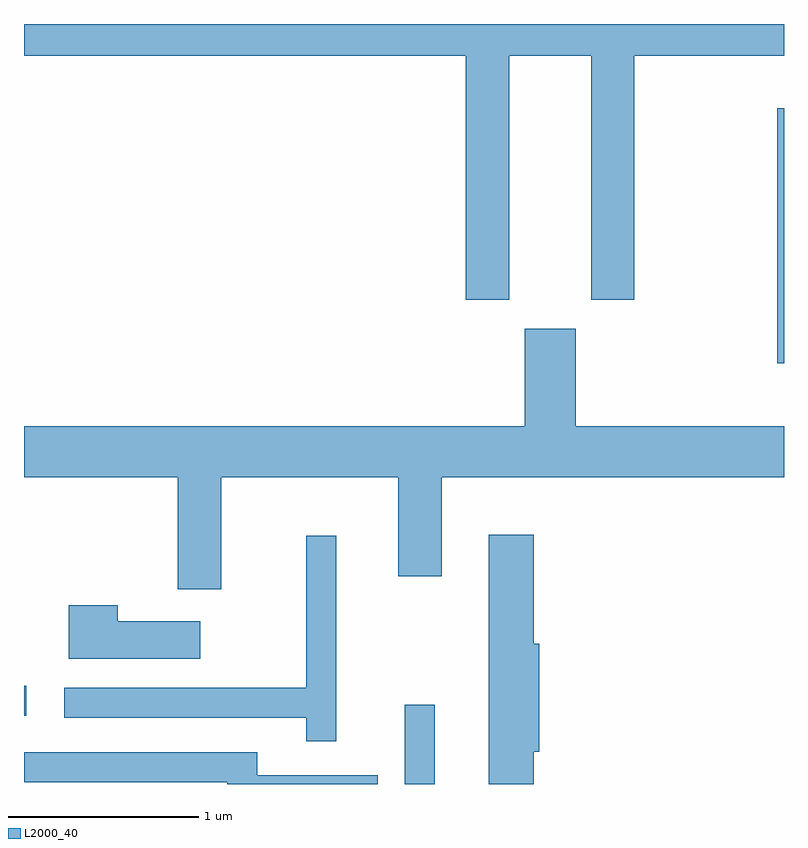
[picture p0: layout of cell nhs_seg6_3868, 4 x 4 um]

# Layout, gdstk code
import gdstk
lib = gdstk.Library(unit=1e-6, precision=1e-09)
def R(c, l, rs):  # rectangles x0, y0, x1, y1
    for r in rs: c.add(gdstk.rectangle(r[:2], r[2:], *l))
def P(c, l, *ps):  # polygons
    for p in ps: c.add(gdstk.Polygon(p, *l))
L2000_40 = (2000, 40)

nhs_seg6_3868 = lib.new_cell('nhs_seg6_3868')
R(nhs_seg6_3868, L2000_40, [(303.616,1586.162,303.774,1586.578), (301.611,1586.521,301.623,1586.679), (305.576,1588.376,305.611,1589.719)])
P(nhs_seg6_3868, L2000_40, [(304.164,1589.996),(304.596,1589.996),(304.596,1588.711),(304.824,1588.711),(304.824,1589.996),(305.611,1589.996),(305.611,1590.162),(301.611,1590.162),(301.611,1589.996),(303.936,1589.996),(303.936,1588.711),(304.164,1588.711)],
  [(302.649,1587.776),(303.581,1587.776),(303.581,1587.256),(303.809,1587.256),(303.809,1587.776),(305.611,1587.776),(305.611,1588.044),(304.514,1588.044),(304.514,1588.559),(304.246,1588.559),(304.246,1588.044),(301.611,1588.044),(301.611,1587.776),(302.421,1587.776),(302.421,1587.186),(302.649,1587.186)],
  [(304.294,1586.331),(304.324,1586.331),(304.324,1586.899),(304.294,1586.899),(304.294,1587.474),(304.056,1587.474),(304.056,1586.162),(304.294,1586.162)],
  [(303.254,1587.468),(303.096,1587.468),(303.096,1586.669),(301.823,1586.669),(301.823,1586.511),(303.096,1586.511),(303.096,1586.388),(303.254,1586.388)],
  [(302.539,1587.019),(302.104,1587.019),(302.104,1587.104),(301.846,1587.104),(301.846,1586.821),(302.539,1586.821)],
  [(303.473,1586.209),(302.839,1586.209),(302.839,1586.329),(301.611,1586.329),(301.611,1586.171),(302.681,1586.171),(302.681,1586.162),(303.473,1586.162)])

lib.write_gds('nhs_seg6_3868.gds')
